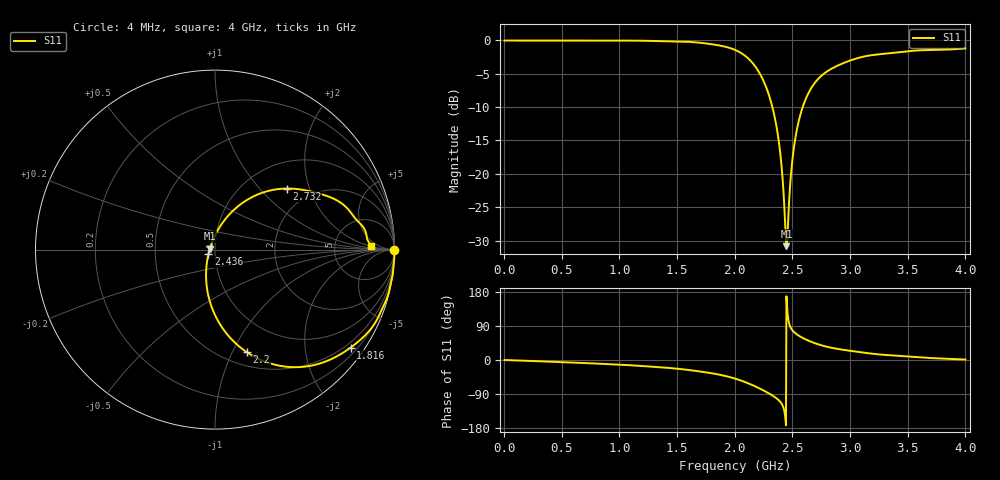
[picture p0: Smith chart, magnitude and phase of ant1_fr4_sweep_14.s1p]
! TOUCHSTONE file generated by CST MICROWAVE STUDIO
! Date and time: Fri May  6 15:38:57 2022
! Project name: ant1_ceramic_sweep_fr4.cst
! Parameters = {e=0.035; h=1.6; i=0.8; l1=0.5; l2=20.96; ls=72; wl=1.7; ws=30}
! Header version: 2018
! Port assignment regex: !\s*Touchstone port\s*([0-9]+)\s*=\s*(CST MWS port|CST DS port)\s*([0-9]+|Zmin|Zmax)\s*\(\"(.*)\"\)(\s*mode\s*([0-9]+))?.*
! Touchstone port assignment:
! Touchstone port 1 = CST MWS port 1 ("")
# GHz S DB R 50
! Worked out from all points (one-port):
!   1000 points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, 4 MHz to 4 GHz, reference 50 ohm
!   lowest |S11| = -30.8 dB at 2.448 GHz (marker M1), VSWR 1.06, Z = 47.3 + j0.554 ohm
!   |S11| at or under -10 dB: 2.326 GHz to 2.589 GHz (262.7 MHz wide, 10.7 % of centre)
!   S11 on the Smith chart (normalised r, x): 4 MHz: open; 1.816 GHz: 0.37, -3.05; 2.2 GHz: 0.64, -1.14; 2.436 GHz: 0.93, -0.05; 2.732 GHz: 1.52, +1.42; 4 GHz: 14, +2
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0.004  -0.01 -0.0
0.504  -0.01 -5.6
1.004  -0.02 -12.3
1.504  -0.14 -23.1
1.816  -0.61 -35.8
2.004  -1.43 -49.2
2.108  -2.56 -60.5
2.2  -4.47 -72.8
2.288  -7.76 -86.7
2.356  -12.35 -99.8
2.38  -14.90 -105.8
2.4  -17.79 -112.5
2.412  -20.09 -118.3
2.436  -27.19 -146.0
2.448  -30.85 168.2
2.456  -29.49 130.3
2.464  -26.53 107.9
2.488  -19.96 83.6
2.504  -17.25 76.8
2.54  -13.25 67.2
2.588  -10.04 58.4
2.652  -7.48 49.3
2.732  -5.61 40.5
2.844  -4.19 31.9
3.004  -2.99 24.1
3.188  -2.20 16.7
3.504  -1.62 9.4
4  -1.20 1.2
